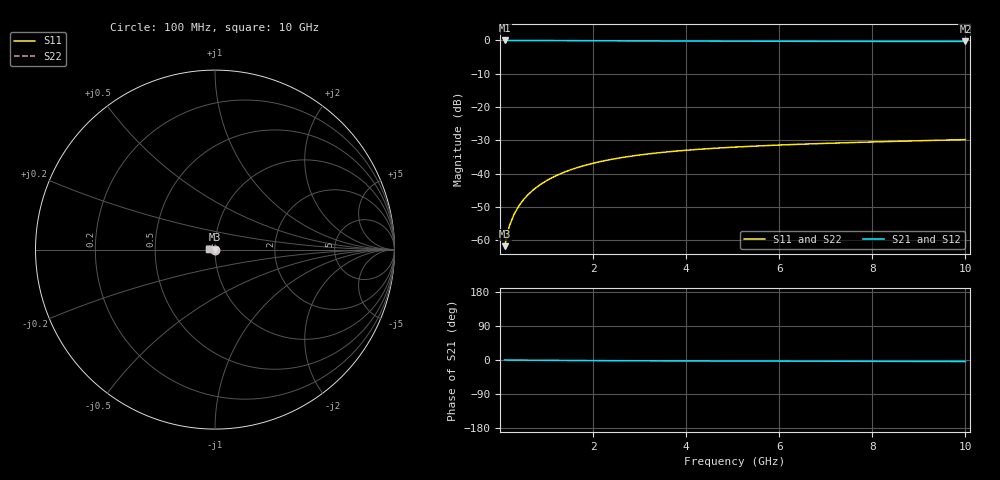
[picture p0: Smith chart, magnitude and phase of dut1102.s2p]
! Touchstone file exported from HFSS 2024.1.0
!  File:  C:/UserFiles/LocalFiles/RDL_TSV_Batchsim/temp_TSV1_1102_1780067295.aedt
!  Generated:  11:16:04 PM May 29, 2026
!  Design:  TSV1
!  Project:  temp_TSV1_1102_1780067295
!  Setup:  Setup1
!  Solution:  Sweep
! Variables:
!  dtsv = 8.98um
!  hbump = 3um
!  htsv = 58.62um
!  lrdl = 252.1521522um
!  p = 40
!  p1 = 48.9um
!  t = 500um
!  trdl = 3um
!  wrdl = 24.89489489um
# GHz S MA R 50.000000
! Terminal data exported
! Port[1] = TSV22_T1
! Port[2] = TSV22_T2
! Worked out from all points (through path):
!   100 points, 100 MHz to 10 GHz, reference 50 ohm
!   highest |S21| = 0.00 dB at 100 MHz (marker M1); lowest = -0.3 dB at 10 GHz (marker M2)
!   lowest |S11| = -61.7 dB at 100 MHz (marker M3), VSWR 1.00, Z = 50 - j0.0809 ohm
!   |S11| at or under -10 dB: start of sweep to end of sweep
!   |S22| runs from -61.7 to -29.8 dB; largest |S21 - S12| = 3.1e-15
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0.1  0.0008181 -81.3  0.9998 -0.1  0.9998 -0.1  0.0008181 -81.3
! Gamma 0 0 0 0
! Port Impedance 50 0 50 0
0.2  0.001624 -88.2  0.9997 -0.2  0.9997 -0.2  0.001624 -88.2
0.3  0.002433 -91.9  0.9996 -0.3  0.9996 -0.3  0.002433 -91.9
0.4  0.003238 -94.7  0.9994 -0.4  0.9994 -0.4  0.003238 -94.7
0.5  0.004035 -97.1  0.9991 -0.4  0.9991 -0.4  0.004035 -97.1
0.6  0.004823 -99.4  0.9988 -0.5  0.9988 -0.5  0.004823 -99.4
0.7  0.005602 -101.5  0.9985 -0.6  0.9985 -0.6  0.005602 -101.5
0.8  0.006369 -103.5  0.9981 -0.7  0.9981 -0.7  0.006369 -103.5
0.9  0.007123 -105.5  0.9977 -0.8  0.9977 -0.8  0.007123 -105.5
1.1  0.008588 -109.3  0.9967 -0.9  0.9967 -0.9  0.008588 -109.3
1.4  0.01067 -114.7  0.9951 -1.2  0.9951 -1.2  0.01067 -114.7
1.6  0.01197 -118.1  0.9939 -1.3  0.9939 -1.3  0.01197 -118.1
1.8  0.01319 -121.4  0.9927 -1.4  0.9927 -1.4  0.01319 -121.4
2.1  0.0149 -126.1  0.9907 -1.6  0.9907 -1.6  0.0149 -126.1
2.5  0.01692 -131.9  0.9882 -1.8  0.9882 -1.8  0.01692 -131.9
2.9  0.01869 -137.2  0.9857 -2.0  0.9857 -2.0  0.01869 -137.2
3.4  0.02059 -143.3  0.9829 -2.2  0.9829 -2.2  0.02059 -143.3
4.2  0.02304 -151.8  0.979 -2.4  0.979 -2.4  0.02304 -151.8
5.1  0.0252 -159.9  0.9755 -2.7  0.9755 -2.7  0.0252 -159.9
6.7  0.02808 -171.7  0.971 -3.1  0.971 -3.1  0.02808 -171.7
8.4  0.03049 178.2  0.9679 -3.5  0.9679 -3.5  0.03049 178.2
10  0.0325 170.3  0.9659 -3.9  0.9659 -3.9  0.0325 170.3
